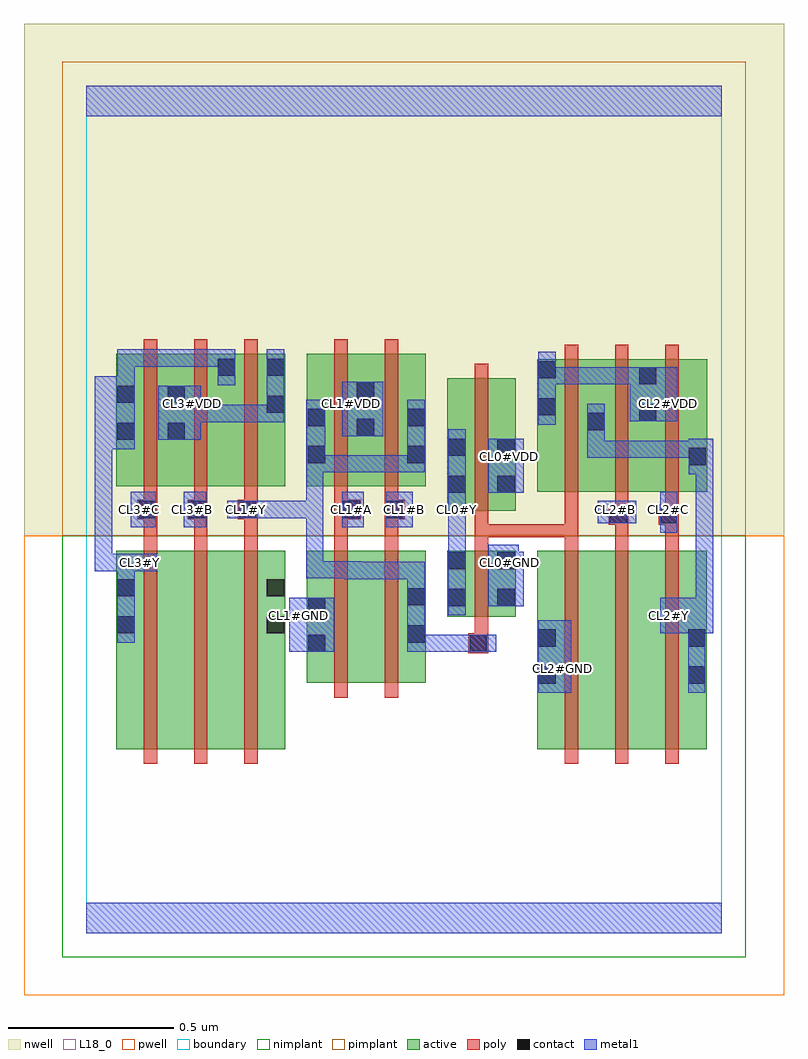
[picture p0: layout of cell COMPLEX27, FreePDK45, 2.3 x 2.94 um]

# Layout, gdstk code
import gdstk
lib = gdstk.Library(unit=1e-6, precision=1e-09)
def R(c, l, rs):  # rectangles x0, y0, x1, y1
    for r in rs: c.add(gdstk.rectangle(r[:2], r[2:], *l))
def A(c, l, x, y, w, h, nx, ny, dx, dy):  # array of equal rectangles
    R(c, l, [(x+i*dx, y+j*dy, x+i*dx+w, y+j*dy+h) for i in range(nx) for j in range(ny)])
active = (1, 0)
pwell = (2, 0)
nwell = (3, 0)
nimplant = (4, 0)
pimplant = (5, 0)
poly = (9, 0)
contact = (10, 0)
metal1 = (11, 0)
L18_0 = (18, 0)
boundary = (235, 0)

complex27 = lib.new_cell('COMPLEX27')
R(complex27, active, [(0.09,0.556,0.15,1.156), (0.09,0.556,0.27,1.156), (0.27,0.556,0.422,1.156), (0.422,0.556,0.602,1.156), (0.542,0.556,0.602,1.156), (1.362,0.556,1.422,1.156), (1.362,0.556,1.542,1.156), (1.542,0.556,1.694,1.156), (1.694,0.556,1.874,1.156), (1.814,0.556,1.874,1.156), (0.666,0.756,0.726,1.156), (0.666,0.756,0.846,1.156), (0.846,0.756,1.026,1.156), (0.966,0.756,1.026,1.156), (1.09,0.956,1.15,1.156), (1.09,0.956,1.298,1.156), (1.238,0.956,1.298,1.156), (1.09,1.276,1.298,1.676), (1.09,1.276,1.15,1.644), (1.238,1.276,1.298,1.644), (1.362,1.334,1.57,1.734), (1.362,1.334,1.422,1.732), (1.51,1.334,1.57,1.644), (1.51,1.334,1.726,1.734), (1.666,1.334,1.876,1.734), (1.816,1.334,1.876,1.644), (0.09,1.35,0.302,1.75), (0.09,1.35,0.15,1.658), (0.242,1.35,0.454,1.75), (0.242,1.35,0.302,1.658), (0.394,1.35,0.602,1.75), (0.394,1.35,0.454,1.74), (0.542,1.35,0.602,1.74), (0.666,1.35,0.874,1.75), (0.666,1.35,0.726,1.644), (0.814,1.35,1.026,1.75), (0.814,1.35,0.874,1.67), (0.966,1.35,1.026,1.644), (1.666,1.352,1.726,1.714)])
R(complex27, pwell, [(-0.188,-0.188,2.108,1.2)])
R(complex27, nwell, [(-0.188,1.2,2.108,2.748)])
R(complex27, nimplant, [(-0.072,-0.072,1.992,1.2)])
R(complex27, pimplant, [(-0.072,1.2,1.992,2.632)])
A(complex27, poly, 0.174, 0.512, 0.04, 0.688, 3, 1, 0.152, 0)
A(complex27, poly, 1.446, 0.512, 0.04, 0.688, 3, 1, 0.152, 0)
A(complex27, poly, 0.174, 1.16, 0.04, 0.13, 3, 1, 0.152, 0)
A(complex27, poly, 0.154, 1.25, 0.06, 0.06, 3, 1, 0.152, 0)
A(complex27, poly, 0.174, 1.27, 0.04, 0.076, 3, 1, 0.152, 0)
A(complex27, poly, 1.446, 1.29, 0.04, 0.488, 3, 1, 0.152, 0)
A(complex27, poly, 0.174, 1.306, 0.04, 0.488, 3, 1, 0.152, 0)
R(complex27, poly, [(0.75,0.712,0.79,1.2), (0.902,0.712,0.942,1.2), (1.154,0.846,1.214,0.906), (1.174,0.866,1.214,0.952), (1.174,0.912,1.214,1.2), (0.75,1.16,0.79,1.29), (0.902,1.16,0.942,1.29), (1.174,1.16,1.214,1.236), (1.446,1.16,1.486,1.236), (1.598,1.16,1.638,1.274), (1.75,1.16,1.79,1.274), (1.174,1.196,1.214,1.272), (1.174,1.196,1.214,1.236), (1.174,1.196,1.214,1.236), (1.174,1.196,1.214,1.236), (1.174,1.196,1.214,1.236), (1.174,1.196,1.214,1.236), (1.174,1.196,1.486,1.236), (1.446,1.196,1.486,1.236), (1.446,1.196,1.486,1.236), (1.446,1.196,1.486,1.236), (1.446,1.196,1.486,1.236), (1.446,1.196,1.486,1.236), (1.446,1.196,1.486,1.33), (1.174,1.232,1.214,1.72), (1.578,1.234,1.638,1.294), (1.598,1.234,1.638,1.274), (1.598,1.234,1.638,1.274), (1.73,1.234,1.79,1.294), (1.75,1.234,1.79,1.274), (1.75,1.234,1.79,1.274), (0.174,1.25,0.214,1.29), (0.174,1.25,0.214,1.29), (0.478,1.25,0.518,1.29), (0.478,1.25,0.518,1.29), (0.75,1.25,0.79,1.29), (0.75,1.25,0.79,1.29), (0.75,1.25,0.83,1.31), (0.902,1.25,0.962,1.31), (1.598,1.254,1.638,1.33), (1.75,1.254,1.79,1.33), (0.326,1.27,0.366,1.31), (0.326,1.27,0.366,1.31), (0.75,1.27,0.79,1.346), (0.902,1.27,0.942,1.346), (0.902,1.27,0.942,1.31), (0.902,1.27,0.942,1.31), (0.75,1.306,0.79,1.794), (0.902,1.306,0.942,1.794)])
A(complex27, contact, 0.158, 1.254, 0.052, 0.052, 3, 1, 0.152, 0)
R(complex27, contact, [(1.366,0.754,1.418,0.806), (1.818,0.754,1.87,0.806), (0.67,0.85,0.722,0.902), (1.158,0.85,1.21,0.902), (1.366,0.866,1.418,0.918), (1.818,0.866,1.87,0.918), (0.97,0.878,1.022,0.93), (0.094,0.906,0.146,0.958), (0.546,0.906,0.598,0.958), (0.67,0.962,0.722,1.014), (1.094,0.988,1.146,1.04), (1.242,0.988,1.294,1.04), (0.97,0.99,1.022,1.042), (0.094,1.018,0.146,1.07), (0.546,1.018,0.598,1.07), (1.094,1.1,1.146,1.152), (1.242,1.1,1.294,1.152), (1.582,1.238,1.634,1.29), (1.734,1.238,1.786,1.29), (0.774,1.254,0.826,1.306), (0.906,1.254,0.958,1.306), (1.094,1.33,1.146,1.382), (1.242,1.33,1.294,1.382), (1.82,1.414,1.872,1.466), (0.67,1.42,0.722,1.472), (0.97,1.42,1.022,1.472), (1.094,1.442,1.146,1.494), (1.242,1.442,1.294,1.494), (0.094,1.49,0.146,1.542), (0.246,1.49,0.298,1.542), (0.818,1.502,0.87,1.554), (1.514,1.52,1.566,1.572), (0.67,1.532,0.722,1.584), (0.97,1.532,1.022,1.584), (1.67,1.546,1.722,1.598), (1.366,1.564,1.418,1.616), (0.546,1.572,0.598,1.624), (0.094,1.602,0.146,1.654), (0.246,1.602,0.298,1.654), (0.818,1.614,0.87,1.666), (1.67,1.658,1.722,1.71), (1.366,1.676,1.418,1.728), (0.398,1.684,0.45,1.736), (0.546,1.684,0.598,1.736)])
R(complex27, metal1, [(0,0,1.92,0.092), (1.366,0.726,1.466,0.946), (1.818,0.726,1.87,0.946), (0.614,0.85,0.75,1.014), (0.97,0.85,1.022,0.902), (0.97,0.85,1.022,0.902), (0.97,0.85,1.022,1.07), (0.97,0.85,1.156,0.902), (1.104,0.85,1.156,0.902), (1.104,0.85,1.156,0.902), (1.104,0.85,1.156,0.902), (1.104,0.85,1.182,0.902), (1.13,0.85,1.238,0.902), (0.094,0.878,0.146,1.098), (1.818,0.894,1.87,0.958), (1.734,0.906,1.894,1.014), (1.094,0.96,1.146,1.18), (1.842,0.962,1.894,1.438), (1.214,0.988,1.322,1.152), (0.97,1.018,1.022,1.07), (0.97,1.018,1.022,1.122), (0.094,1.046,0.146,1.146), (1.214,1.066,1.266,1.118), (1.214,1.066,1.306,1.174), (0.78,1.07,1.022,1.122), (0.78,1.07,0.832,1.124), (0.664,1.072,0.716,1.124), (0.664,1.072,0.716,1.124), (0.664,1.072,0.716,1.124), (0.664,1.072,0.832,1.124), (0.664,1.072,0.716,1.306), (0.78,1.072,0.832,1.124), (0.78,1.072,0.832,1.124), (0.026,1.094,0.078,1.146), (0.026,1.094,0.078,1.146), (0.026,1.094,0.078,1.514), (0.026,1.094,0.214,1.146), (1.094,1.128,1.146,1.278), (1.734,1.21,1.786,1.334), (0.134,1.226,0.21,1.334), (0.294,1.226,0.362,1.334), (0.774,1.226,0.838,1.334), (0.906,1.226,0.986,1.334), (1.094,1.226,1.146,1.334), (1.546,1.238,1.662,1.306), (0.426,1.254,0.542,1.306), (0.49,1.254,0.716,1.306), (0.664,1.254,0.716,1.306), (0.664,1.254,0.716,1.306), (0.664,1.254,0.716,1.306), (0.664,1.254,0.716,1.444), (1.094,1.282,1.146,1.334), (1.094,1.282,1.146,1.334), (1.094,1.282,1.146,1.354), (1.094,1.302,1.146,1.522), (1.214,1.33,1.322,1.494), (1.82,1.386,1.894,1.494), (1.842,1.386,1.894,1.438), (1.842,1.386,1.894,1.438), (0.664,1.392,0.722,1.612), (0.67,1.392,0.832,1.444), (0.78,1.392,0.832,1.444), (0.78,1.392,0.832,1.444), (0.78,1.392,0.832,1.444), (0.78,1.392,1.022,1.444), (0.97,1.392,1.022,1.444), (0.97,1.392,1.022,1.444), (0.97,1.392,1.022,1.612), (1.514,1.436,1.676,1.488), (1.514,1.436,1.566,1.544), (1.624,1.436,1.676,1.488), (1.624,1.436,1.676,1.488), (1.624,1.436,1.676,1.488), (1.624,1.436,1.872,1.488), (0.026,1.462,0.146,1.682), (0.218,1.49,0.346,1.654), (1.514,1.492,1.566,1.544), (1.514,1.492,1.566,1.6), (0.774,1.502,0.898,1.666), (1.366,1.536,1.418,1.756), (0.294,1.544,0.346,1.596), (0.294,1.544,0.346,1.596), (0.294,1.544,0.456,1.596), (0.404,1.544,0.456,1.596), (0.404,1.544,0.456,1.596), (0.404,1.544,0.456,1.596), (0.404,1.544,0.598,1.596), (0.546,1.544,0.598,1.764), (1.642,1.546,1.786,1.71), (0.094,1.63,0.146,1.764), (0.398,1.656,0.45,1.764), (1.366,1.658,1.418,1.71), (1.366,1.658,1.418,1.71), (1.366,1.658,1.528,1.71), (1.476,1.658,1.528,1.71), (1.476,1.658,1.528,1.71), (1.476,1.658,1.528,1.71), (1.476,1.658,1.694,1.71), (0.094,1.712,0.146,1.764), (0.094,1.712,0.146,1.764), (0.094,1.712,0.146,1.764), (0.094,1.712,0.256,1.764), (0.204,1.712,0.256,1.764), (0.204,1.712,0.256,1.764), (0.204,1.712,0.256,1.764), (0.204,1.712,0.45,1.764), (0,2.468,1.92,2.56)])
A(complex27, L18_0, 1.734, 0.934, 0.052, 0.052, 1, 3, 0, 0.32)
A(complex27, L18_0, 0.134, 1.254, 0.052, 0.052, 3, 1, 0.16, 0)
A(complex27, L18_0, 0.774, 1.254, 0.052, 0.052, 3, 1, 0.16, 0)
R(complex27, L18_0, [(0,0,1.92,0.092), (1.366,0.726,1.466,0.946), (1.818,0.726,1.87,0.946), (1.414,0.774,1.466,0.826), (0.614,0.85,0.75,1.014), (0.97,0.85,1.022,1.07), (0.97,0.85,1.022,0.902), (0.97,0.85,1.022,0.902), (0.97,0.85,1.156,0.902), (1.104,0.85,1.156,0.902), (1.104,0.85,1.156,0.902), (1.104,0.85,1.156,0.902), (1.104,0.85,1.182,0.902), (1.13,0.85,1.238,0.902), (0.094,0.878,0.146,1.098), (1.818,0.894,1.87,0.958), (1.734,0.906,1.894,1.014), (0.614,0.934,0.666,0.986), (0.614,0.934,0.666,0.986), (1.094,0.96,1.146,1.18), (1.842,0.962,1.894,1.438), (1.214,0.988,1.322,1.152), (0.97,1.018,1.022,1.07), (0.97,1.018,1.022,1.122), (0.094,1.046,0.146,1.146), (1.214,1.066,1.266,1.118), (1.214,1.066,1.306,1.174), (0.78,1.07,0.832,1.124), (0.78,1.07,1.022,1.122), (0.664,1.072,0.716,1.124), (0.664,1.072,0.716,1.124), (0.664,1.072,0.716,1.124), (0.664,1.072,0.716,1.306), (0.664,1.072,0.832,1.124), (0.78,1.072,0.832,1.124), (0.78,1.072,0.832,1.124), (0.026,1.094,0.214,1.146), (0.026,1.094,0.078,1.146), (0.026,1.094,0.078,1.146), (0.026,1.094,0.078,1.514), (0.134,1.094,0.186,1.146), (1.254,1.094,1.306,1.146), (1.094,1.128,1.146,1.278), (1.734,1.21,1.786,1.334), (0.134,1.226,0.21,1.334), (0.294,1.226,0.362,1.334), (0.774,1.226,0.838,1.334), (0.906,1.226,0.986,1.334), (1.094,1.226,1.146,1.334), (1.546,1.238,1.662,1.306), (0.426,1.254,0.542,1.306), (0.49,1.254,0.716,1.306), (0.664,1.254,0.716,1.306), (0.664,1.254,0.716,1.306), (0.664,1.254,0.716,1.306), (0.664,1.254,0.716,1.444), (1.574,1.254,1.626,1.306), (1.094,1.282,1.146,1.334), (1.094,1.282,1.146,1.334), (1.094,1.282,1.146,1.354), (1.094,1.302,1.146,1.522), (1.214,1.33,1.322,1.494), (1.82,1.386,1.894,1.494), (1.842,1.386,1.894,1.438), (1.842,1.386,1.894,1.438), (0.664,1.392,0.722,1.612), (0.67,1.392,0.832,1.444), (0.78,1.392,0.832,1.444), (0.78,1.392,0.832,1.444), (0.78,1.392,0.832,1.444), (0.78,1.392,1.022,1.444), (0.97,1.392,1.022,1.612), (0.97,1.392,1.022,1.444), (0.97,1.392,1.022,1.444), (1.254,1.414,1.306,1.466), (1.514,1.436,1.676,1.488), (1.514,1.436,1.566,1.544), (1.624,1.436,1.676,1.488), (1.624,1.436,1.676,1.488), (1.624,1.436,1.676,1.488), (1.624,1.436,1.872,1.488), (0.026,1.462,0.146,1.682), (0.218,1.49,0.346,1.654), (1.514,1.492,1.566,1.544), (1.514,1.492,1.566,1.6), (0.774,1.502,0.898,1.666), (1.366,1.536,1.418,1.756), (0.294,1.544,0.346,1.596), (0.294,1.544,0.346,1.596), (0.294,1.544,0.456,1.596), (0.404,1.544,0.456,1.596), (0.404,1.544,0.456,1.596), (0.404,1.544,0.456,1.596), (0.404,1.544,0.598,1.596), (0.546,1.544,0.598,1.764), (1.642,1.546,1.786,1.71), (0.294,1.574,0.346,1.626), (0.774,1.574,0.826,1.626), (0.094,1.63,0.146,1.764), (0.398,1.656,0.45,1.764), (1.366,1.658,1.418,1.71), (1.366,1.658,1.418,1.71), (1.366,1.658,1.528,1.71), (1.476,1.658,1.528,1.71), (1.476,1.658,1.528,1.71), (1.476,1.658,1.528,1.71), (1.476,1.658,1.694,1.71), (0.094,1.712,0.146,1.764), (0.094,1.712,0.146,1.764), (0.094,1.712,0.146,1.764), (0.094,1.712,0.256,1.764), (0.204,1.712,0.256,1.764), (0.204,1.712,0.256,1.764), (0.204,1.712,0.256,1.764), (0.204,1.712,0.45,1.764), (0,2.468,1.92,2.56)])
R(complex27, boundary, [(0,0,1.92,2.56)])
complex27.add(gdstk.Label('CL0#GND', (1.28,1.12), layer=11, texttype=0))
complex27.add(gdstk.Label('CL0#VDD', (1.28,1.44), layer=11, texttype=0))
complex27.add(gdstk.Label('CL0#Y', (1.12,1.28), layer=11, texttype=0))
complex27.add(gdstk.Label('CL1#A', (0.8,1.28), layer=11, texttype=0))
complex27.add(gdstk.Label('CL1#B', (0.96,1.28), layer=11, texttype=0))
complex27.add(gdstk.Label('CL1#GND', (0.64,0.96), layer=11, texttype=0))
complex27.add(gdstk.Label('CL1#VDD', (0.8,1.6), layer=11, texttype=0))
complex27.add(gdstk.Label('CL1#Y', (0.48,1.28), layer=11, texttype=0))
complex27.add(gdstk.Label('CL2#B', (1.6,1.28), layer=11, texttype=0))
complex27.add(gdstk.Label('CL2#C', (1.76,1.28), layer=11, texttype=0))
complex27.add(gdstk.Label('CL2#GND', (1.44,0.8), layer=11, texttype=0))
complex27.add(gdstk.Label('CL2#VDD', (1.76,1.6), layer=11, texttype=0))
complex27.add(gdstk.Label('CL2#Y', (1.76,0.96), layer=11, texttype=0))
complex27.add(gdstk.Label('CL3#B', (0.32,1.28), layer=11, texttype=0))
complex27.add(gdstk.Label('CL3#C', (0.16,1.28), layer=11, texttype=0))
complex27.add(gdstk.Label('CL3#GND', (0.64,0.96), layer=11, texttype=0))
complex27.add(gdstk.Label('CL3#VDD', (0.32,1.6), layer=11, texttype=0))
complex27.add(gdstk.Label('CL3#Y', (0.16,1.12), layer=11, texttype=0))

lib.write_gds('COMPLEX27.gds')
